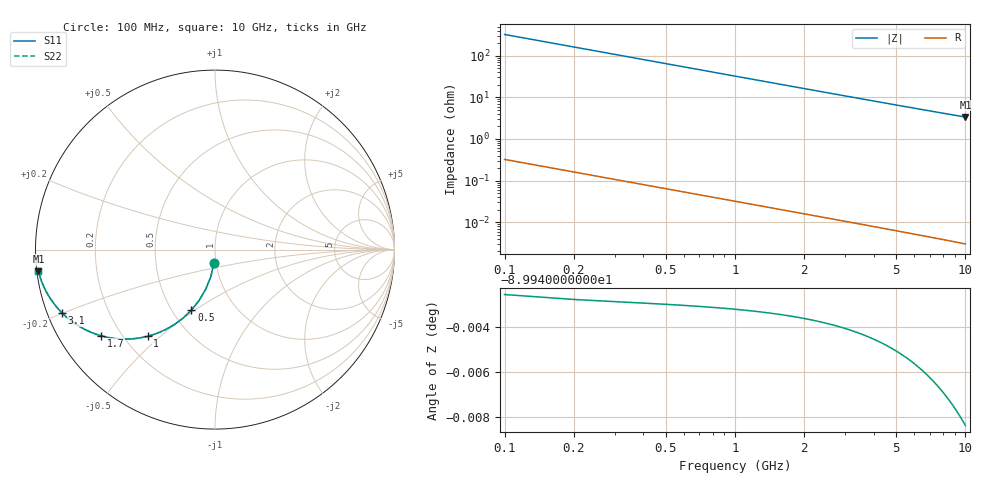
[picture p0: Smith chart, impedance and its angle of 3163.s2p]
# Hz S RI R 50.00
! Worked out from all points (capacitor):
!   100 points, 100 MHz to 10 GHz, reference 50 ohm
!   read as one part in shunt: C = 4.94 pF near 100 MHz
!   lowest |Z| = 3.36 ohm at 10 GHz (marker M1)
!   S11 on the Smith chart (normalised r, x): 100 MHz: 0.98, -0.15; 500 MHz: 0.62, -0.48; 1 GHz: 0.29, -0.45; 1.7 GHz: 0.13, -0.33; 3.1 GHz: 0.04, -0.20; 10 GHz: 0.00, -0.06
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1e8  -0.00606 -0.0771  0.9939 -0.0772  0.9939 -0.0772  -0.00606 -0.0771
2e8  -0.0237 -0.1515  0.9763 -0.1517  0.9763 -0.1517  -0.0237 -0.1515
3e8  -0.0516 -0.2207  0.9483 -0.221  0.9483 -0.221  -0.0516 -0.2207
4e8  -0.0882 -0.2829  0.9118 -0.2833  0.9118 -0.2833  -0.0882 -0.2829
5e8  -0.1311 -0.3368  0.8688 -0.3373  0.8688 -0.3373  -0.1311 -0.3368
6e8  -0.1784 -0.3821  0.8215 -0.3827  0.8215 -0.3827  -0.1784 -0.3821
7e8  -0.2281 -0.4187  0.7719 -0.4194  0.7719 -0.4194  -0.2281 -0.4187
8e8  -0.2783 -0.4473  0.7217 -0.4481  0.7217 -0.4481  -0.2783 -0.4473
1e9  -0.3757 -0.4833  0.6242 -0.4843  0.6242 -0.4843  -0.3757 -0.4833
1.3e9  -0.5039 -0.4989  0.4961 -0.5001  0.4961 -0.5001  -0.5039 -0.4989
1.5e9  -0.5746 -0.4932  0.4254 -0.4946  0.4254 -0.4946  -0.5746 -0.4932
1.7e9  -0.6341 -0.4803  0.3658 -0.482  0.3658 -0.482  -0.6341 -0.4803
1.8e9  -0.6601 -0.4723  0.3398 -0.474  0.3398 -0.474  -0.6601 -0.4723
2.1e9  -0.7253 -0.4448  0.2747 -0.4469  0.2747 -0.4469  -0.7253 -0.4448
2.4e9  -0.775 -0.4159  0.225 -0.4183  0.225 -0.4183  -0.775 -0.4159
3.1e9  -0.8514 -0.3537  0.1486 -0.3567  0.1486 -0.3567  -0.8514 -0.3537
3.4e9  -0.8732 -0.3306  0.1268 -0.3339  0.1268 -0.3339  -0.8732 -0.3306
4.2e9  -0.9129 -0.2794  0.0871 -0.2836  0.0871 -0.2836  -0.9129 -0.2794
5.1e9  -0.9391 -0.2361  0.0609 -0.2411  0.0609 -0.2411  -0.9391 -0.2361
6.7e9  -0.9637 -0.183  0.0362 -0.1897  0.0362 -0.1897  -0.9637 -0.183
8.4e9  -0.9766 -0.1462  0.0233 -0.1547  0.0233 -0.1547  -0.9766 -0.1462
1e10  -0.9834 -0.1219  0.0165 -0.1321  0.0165 -0.1321  -0.9834 -0.1219
